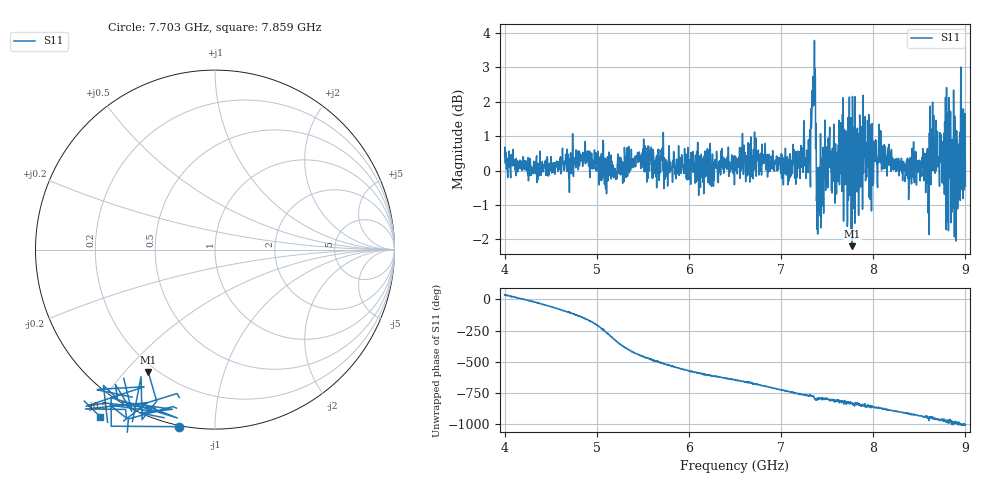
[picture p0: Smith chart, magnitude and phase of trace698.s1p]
! Created with skrf 1.8.0 (http://scikit-rf.org).
# Hz S RI R 50.0
!freq ReS11 ImS11
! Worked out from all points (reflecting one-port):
!   1601 points, 4 GHz to 9 GHz, reference 50 ohm
!   lowest |S11| = -2.2 dB at 7.772 GHz (marker M1), VSWR 7.95, Z = 8.46 - j29 ohm
!   phase of S11 starts at 37 deg and turns -1048 deg over the sweep
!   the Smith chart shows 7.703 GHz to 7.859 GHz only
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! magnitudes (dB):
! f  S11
! 4 GHz  0.4
! 4.625 GHz  0.3
! 5.25 GHz  0.4
! 5.572 GHz  0.0
! 5.875 GHz  -0.1
! 6.5 GHz  0.2
! 7.125 GHz  0.4
! 7.294 GHz  -0.1
! 7.347 GHz  2.7
! 7.362 GHz  3.8
! 7.409 GHz  -1.1
! 7.503 GHz  0.2
! 7.6 GHz  -0.7
! 7.65 GHz  1.2
! 7.691 GHz  0.6
! 7.703 GHz  0.1
! 7.75 GHz  0.0
! 7.772 GHz  -2.2
! 7.878 GHz  1.1
! 8.375 GHz  -0.2
! 8.522 GHz  0.0
! 8.581 GHz  -0.4
! 8.656 GHz  1.6
! 8.794 GHz  2.4
! 8.819 GHz  -0.3
! 8.875 GHz  0.6
! 8.959 GHz  1.8
! 9 GHz  -0.5
